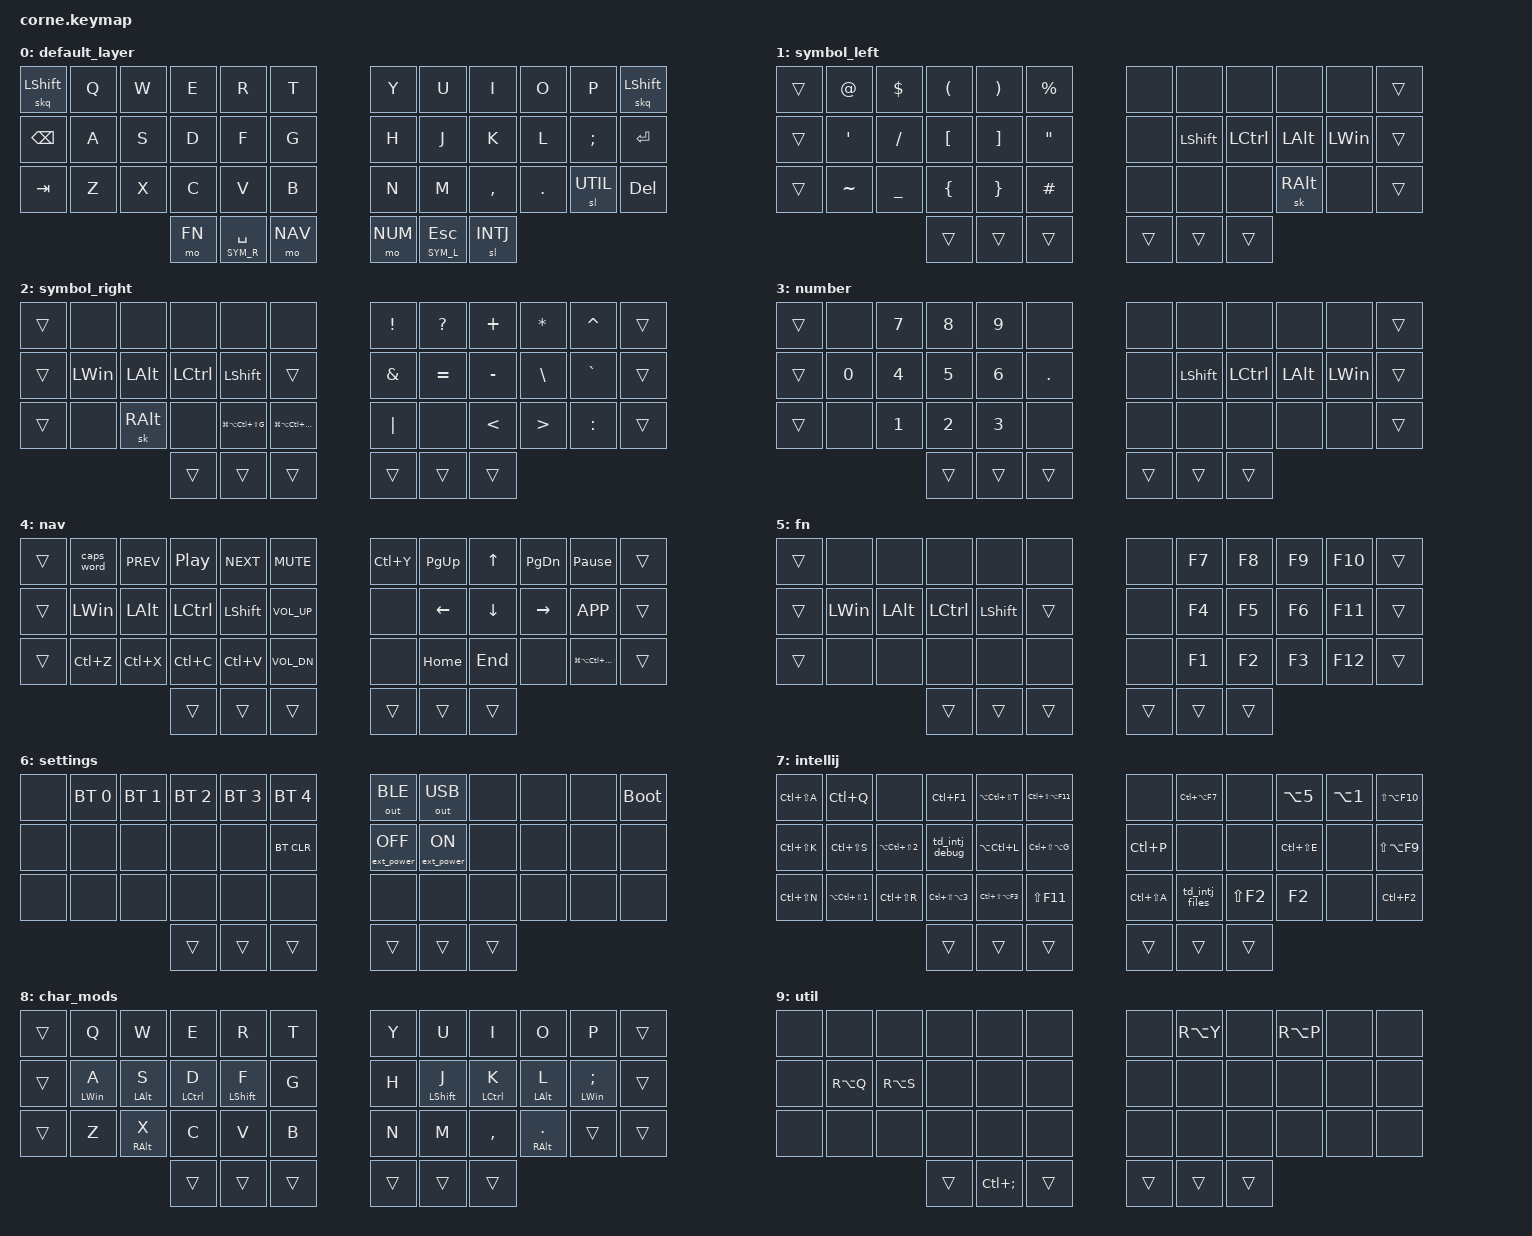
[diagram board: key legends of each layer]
/*
 * Copyright (c) 2020 The ZMK Contributors
 *
 * SPDX-License-Identifier: MIT
 */

#include <behaviors.dtsi>
#include <dt-bindings/zmk/keys.h>
#include <dt-bindings/zmk/bt.h>
#include <dt-bindings/zmk/outputs.h>
#include <dt-bindings/zmk/ext_power.h>

#define DEFAULT 0
#define SYM_L 1
#define SYM_R 2
#define NUM 3
#define NAV 4
#define FN 5
#define SETTINGS 6
#define INTJ 7
#define CHAR_MODS 8
#define UTIL 9

//push-to-talk hotkey
#define PTT LG(LA(LC(LS(G))))
#define MUTE LG(LA(LC(LS(M))))
#define BOOKMARKS LS(F11)
#define IJ_ACTION LC(LS(A))
#define IJ_CLASSES LC(LS(K))
#define IJ_FILES LC(LS(N))
#define IJ_DEBUG LS(LA(F9))
#define IJ_RUN LS(LA(F10))
#define IJ_STOP LC(F2)
#define ACE_JUMP LC(SEMICOLON)

#define COMBO_TIMEOUT 60

/ {

    conditional_layers {        
        compatible = "zmk,conditional-layers";        
        
        char_layer {            
            if-layers = <SYM_L SYM_R>;            
            then-layer = <CHAR_MODS>;        
        };    

        settings_layer {            
            if-layers = <NAV NUM>;            
            then-layer = <SETTINGS>;
        };    
    };

        ///  0  1  2  3  4  5      6  7  8  9 10 11
        /// 12 13 14 15 16 17     18 19 20 21 22 23
        /// 24 25 26 27 28 29     30 31 32 33 34 35
        ///          36 37 38     39 40 41

     combos {
        compatible = "zmk,combos"; 

        // caps word
        combo_caps_word {
            timeout-ms = <COMBO_TIMEOUT>;
            key-positions = <0 11>;
            bindings = <&caps_word>;
        };
    };

    behaviors {
    //     //intellij: start app in debug with one tap. stop it with two taps
        td_intj_debug: td_intj_debug {
            compatible = "zmk,behavior-tap-dance";
            label = "TAP_DANCE_INTELLIJ_DEBUG";
            #binding-cells = <0>;
            tapping-term-ms = <200>;
            bindings = <&kp LA(LS(F9))>, <&kp LC(F2)>;
        };

        //intellij: tap dance for: open class | open file
        td_intj_files: td_intj_files {
            compatible = "zmk,behavior-tap-dance";
            label = "TAP_DANCE_INTELLIJ_FILES";
            #binding-cells = <0>;
            tapping-term-ms = <200>;
            bindings = <&kp LC(LS(K))>, <&kp LC(LS(N))>;
        };
        td_nav_ptt: td_nav_ptt {
            compatible = "zmk,behavior-tap-dance";
            label = "TAP_DANCE_NAV_PTT";
            #binding-cells = <0>;
            tapping-term-ms = <200>;
            bindings = <&to NAV>, <&kp PTT>;
        };

        //sticky keys with quick-release. avoid that the more than key is affected by the sticky key. happens if the first key after the sticky is hold down
        skq: sticky_key_quick_release {
            compatible = "zmk,behavior-sticky-key";
            label = "STICKY_KEY_QUICK_RELEASE";
            #binding-cells = <1>;
            bindings = <&kp>;
            release-after-ms = <1000>;
            quick-release;
        };
    };
        
        keymap {
                compatible = "zmk,keymap";

                default_layer {
                        bindings = <
   &skq LSHFT &kp Q  &kp W  &kp E   &kp R  &kp T             &kp Y &kp U   &kp I       &kp O    &kp P      &skq LSHFT
   &kp BSPC   &kp A  &kp S  &kp D   &kp F  &kp G             &kp H &kp J   &kp K       &kp L    &kp SEMI   &kp RET
   &kp TAB    &kp Z  &kp X  &kp C   &kp V  &kp B             &kp N &kp M   &kp COMMA   &kp DOT  &sl UTIL      &kp DEL
                  &mo FN   &lt SYM_R SPACE  &mo NAV         &mo NUM    &lt SYM_L ESC   &sl INTJ
                        >;
                };
                symbol_left {
                        bindings = <
   &trans   &kp AT     &kp DLLR         &kp LPAR       &kp RPAR  &kp PRCNT        &none &none      &none       &none     &none      &trans
   &trans   &kp APOS   &kp SLASH        &kp LBKT       &kp RBKT  &kp DQT         &none &kp LSHIFT &kp LCTRL   &kp LALT  &kp LWIN   &trans
   &trans   &kp TILDE  &kp UNDERSCORE   &kp LBRC       &kp RBRC  &kp HASH        &none &none      &none       &sk RALT  &none      &trans
                          	                    &trans    &trans &trans        &trans    &trans   &trans
                        >;
                };

                symbol_right {
                        bindings = <
   &trans   &none       &none     &none      &none      &none             &kp EXCL  &kp QMARK   &kp PLUS         &kp STAR            &kp CARET      &trans
   &trans   &kp LWIN    &kp LALT  &kp LCTRL  &kp LSHIFT &trans            &kp AMPS  &kp EQUAL   &kp MINUS  &kp BACKSLASH  &kp GRAVE &trans
   &trans   &none       &sk RALT  &none      &kp PTT  &kp MUTE                 &kp PIPE  &none       &kp LT           &kp GT              &kp COLON      &trans
                          	   &trans    &trans      &trans               &trans    &trans      &trans
                        >;
                };

                number {
                        bindings = <
   &trans &none        &kp N7      &kp N8   &kp N9 &none          &none &none  &none  &none  &none &trans
   &trans &kp N0       &kp N4      &kp N5    &kp N6   &kp DOT               &none   &kp LSHIFT &kp LCTRL   &kp LALT  &kp LWIN   &trans
   &trans &none        &kp N1      &kp N2   &kp N3 &none          &none &none  &none  &none  &none      &trans
                          	        &trans          &trans    &trans           &trans  &trans        &trans
                        >;
                };

                nav {
                        bindings = <
&trans   &caps_word     &kp C_PREV &kp C_PLAY_PAUSE &kp C_NEXT  &kp C_MUTE          &kp LC(Y)      &kp PAGE_UP &kp UP        &kp PAGE_DOWN   &kp PAUSE_BREAK  &trans
&trans   &kp LWIN       &kp LALT   &kp LCTRL        &kp LSHFT   &kp C_VOL_UP        &none       &kp LEFT    &kp DOWN      &kp RIGHT       &kp K_APP        &trans
&trans   &kp LC(Z)   &kp LC(X)  &kp LC(C)        &kp LC(V)   &kp C_VOL_DN        &none       &kp HOME    &kp END       &none           &kp MUTE     &trans
                                   &trans           &trans &trans              &trans      &trans      &trans
                        >;
                };

                fn {
                        bindings = <
    &trans   &none &none  &none  &none  &none                            &none   &kp F7   &kp F8  &kp F9   &kp F10  &trans
    &trans   &kp LWIN  &kp LALT &kp LCTRL &kp LSHIFT &trans       &none   &kp F4   &kp F5  &kp F6   &kp F11  &trans
    &trans   &none &none  &none  &none  &none                            &none   &kp F1   &kp F2  &kp F3   &kp F12   &trans
                     &trans  &trans    &trans            &trans  &trans  &trans
                        >;
                };


                settings {
                        bindings = <
&none    &bt BT_SEL 0 &bt BT_SEL 1 &bt BT_SEL 2  &bt BT_SEL 3  &bt BT_SEL 4            &out OUT_BLE         &out OUT_USB           &none &none &none &bootloader
&none    &none        &none        &none         &none         &bt BT_CLR              &ext_power EP_OFF    &ext_power EP_ON       &none &none &none &none 
&none    &none        &none        &none         &none         &none                   &none                &none                  &none &none &none &none
                                   &trans        &trans        &trans                  &trans       &trans       &trans
                        >;
                };

                intellij {
                        bindings = <
&kp IJ_ACTION   &kp LC(Q)       &none         &kp LC(F1) &kp LA(LC(LS(T))) &kp LC(LS(LA(F11)))          &none       &kp LC(LA(F7)) &none      &kp LA(N5)    &kp LA(N1) &kp IJ_RUN
&kp IJ_CLASSES  &kp LC(LS(S))   &kp LA(LC(LS(N2)))    &td_intj_debug &kp LA(LC(L))     &kp LC(LS(LA(G)))          &kp LC(P)   &none      &none      &kp LC(LS(E)) &none &kp IJ_DEBUG
&kp IJ_FILES    &kp LA(LC(LS(N1)))      &kp LC(LS(R)) &kp LC(LS(LA(N3)))  &kp LC(LS(LA(F3)))     &kp LS(F11)          &kp LC(LS(A))       &td_intj_files      &kp LS(F2) &kp F2         &none &kp IJ_STOP
                                       &trans     &trans       &trans               &trans      &trans     &trans
                        >;
                };

                char_mods {
                        bindings = <
   &trans &kp Q  &kp W  &kp E   &kp R  &kp T                                   &kp Y &kp U   &kp I       &kp O    &kp P            &trans
   &trans &mt LWIN A  &mt LALT S  &mt LCTRL D   &mt LSHFT F  &kp G             &kp H &mt LSHFT J   &mt LCTRL K       &mt LALT L    &mt LWIN  SEMI   &trans
   &trans &kp Z  &mt RALT X  &kp C   &kp V  &kp B                                   &kp N &kp M   &kp COMMA   &mt RALT DOT  &trans    &trans
                &trans        &trans        &trans                  &trans       &trans       &trans
                        >;
                };
                
                util {
                        bindings = <
&none    &none &none &none  &none  &none            &none        &kp RA(Y)            &none &kp RA(P) &none &none 
&none    &kp RA(Q)        &kp RA(S)        &none         &none         &none               &none     &none        &none &none &none &none 
&none    &none        &none        &none         &none         &none                   &none                &none                  &none &none &none &none
                                   &trans        &kp ACE_JUMP        &trans                  &trans       &trans       &trans
                        >;
                };
        };
};
